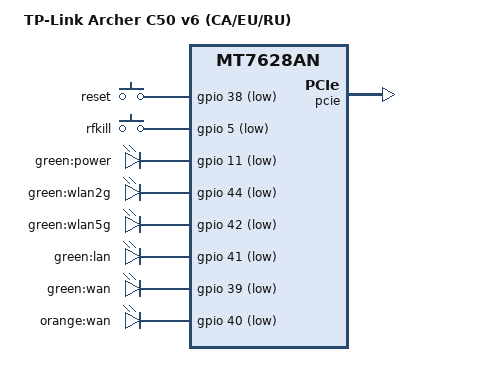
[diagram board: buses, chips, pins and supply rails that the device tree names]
// SPDX-License-Identifier: GPL-2.0-or-later OR MIT

#include "mt7628an_tplink_8m-split-uboot.dtsi"

/ {
	compatible = "tplink,archer-c50-v6", "mediatek,mt7628an-soc";
	model = "TP-Link Archer C50 v6 (CA/EU/RU)";

	aliases {
		led-boot = &led_power;
		led-failsafe = &led_power;
		led-running = &led_power;
		led-upgrade = &led_power;
	};

	keys {
		compatible = "gpio-keys";

		reset {
			label = "reset";
			gpios = <&gpio 38 GPIO_ACTIVE_LOW>;
			linux,code = <KEY_RESTART>;
		};

		rfkill {
			label = "rfkill";
			gpios = <&gpio 5 GPIO_ACTIVE_LOW>;
			linux,code = <KEY_RFKILL>;
		};
	};

	leds {
		compatible = "gpio-leds";

		led_power: power {
			label = "green:power";
			gpios = <&gpio 11 GPIO_ACTIVE_LOW>;
		};

		wlan2 {
			label = "green:wlan2g";
			gpios = <&gpio 44 GPIO_ACTIVE_LOW>;
		};

		wlan5 {
			label = "green:wlan5g";
			gpios = <&gpio 42 GPIO_ACTIVE_LOW>;
		};

		lan {
			label = "green:lan";
			gpios = <&gpio 41 GPIO_ACTIVE_LOW>;
		};

		wan {
			label = "green:wan";
			gpios = <&gpio 39 GPIO_ACTIVE_LOW>;
		};

		wan_orange {
			label = "orange:wan";
			gpios = <&gpio 40 GPIO_ACTIVE_LOW>;
		};
	};
};

&ehci {
	status = "disabled";
};

&ohci {
	status = "disabled";
};

&state_default {
	gpio {
		groups = "i2c", "p0led_an", "p1led_an", "p2led_an",
				   "p3led_an", "p4led_an", "wdt", "wled_an";
		function = "gpio";
	};
};

&pcie {
	status = "okay";
};

&pcie0 {
	wifi@0,0 {
		reg = <0x0000 0 0 0 0>;
		ieee80211-freq-limit = <5000000 6000000>;
		nvmem-cells = <&eeprom_radio_8000>, <&macaddr_rom_f100 (-1)>;
		nvmem-cell-names = "eeprom", "mac-address";
	};
};

&eeprom_radio_8000 {
	/* V2 has different eeprom size '0x4da8' for MT7613 */
	reg = <0x8000 0x4da8>;
};
